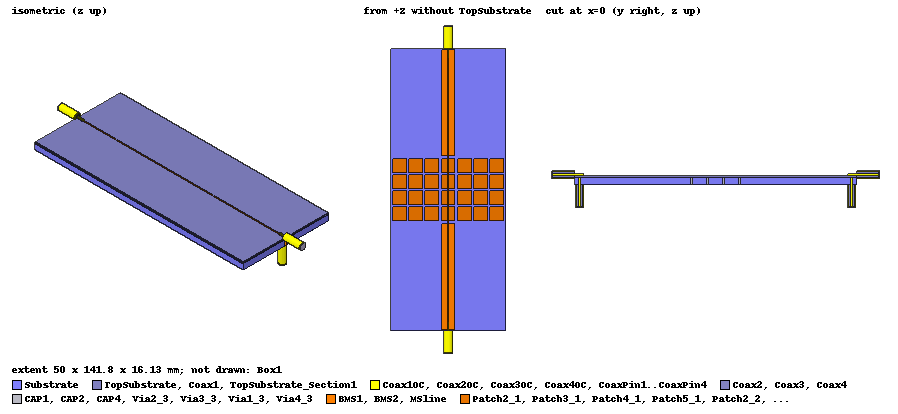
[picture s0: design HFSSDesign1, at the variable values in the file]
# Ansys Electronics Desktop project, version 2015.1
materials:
  vacuum: permittivity=1
  Rogers RT/duroid 5880 (tm): permittivity=2.2 dielectric_loss_tangent=0.0009
  pec: conductivity=1e+30
  Teflon (tm): permittivity=2.1 dielectric_loss_tangent=0.001

design HFSSDesign1 (HFSS, DrivenModal, model units mm)
options: Allow_Material_Override
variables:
  Slength = 50mm
  Swidth = 29mm + 2*lambda + 7.62mm
  Sthick = 3.175mm
  Patch = 6mm
  vradius = 0.4mm
  Xtop = 2mm
  Ztop = 0.787mm
  coaxradius = (2.5447/2) mm
  coaxlength = 9.52mm
  coax = 0
  pinradius = (.76/2) mm
  pinlength = coaxlength + 3.81mm
  lambda = 42.5516mm
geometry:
  Substrate [Rogers RT/duroid 5880 (tm)] = box(corner=(-Slength/2, -Swidth/2, -Sthick/2), size=(Slength, Swidth, Sthick))
  Patch1_1 = rectangle(corner=(-Slength/2 + 1mm, -Swidth/2 + 1mm + lambda + 3.81mm, Sthick/2), x_size=Patch, y_size=Patch)
  Patch1_2, Patch1_3, Patch1_4 = Patch1_1.duplicate_along_line(step=(0mm, 7mm, 0mm), total=4)
  Patch2_1, Patch3_1, Patch4_1, Patch5_1, Patch6_1, Patch7_1 = Patch1_1.duplicate_along_line(step=(7mm, 0mm, 0mm), total=8)  # copies kept: 1..6
  Patch2_2, Patch3_2, Patch4_2, Patch5_2, Patch6_2, Patch7_2 = Patch1_2.duplicate_along_line(step=(7mm, 0mm, 0mm), total=8)  # copies kept: 1..6
  Patch2_3, Patch3_3, Patch4_3, Patch5_3, Patch6_3, Patch7_3 = Patch1_3.duplicate_along_line(step=(7mm, 0mm, 0mm), total=8)  # copies kept: 1..6
  Patch2_4, Patch3_4, Patch4_4, Patch5_4, Patch6_4, Patch7_4 = Patch1_4.duplicate_along_line(step=(7mm, 0mm, 0mm), total=8)  # copies kept: 1..6
  Via1 [pec] = cylinder(axis=Z, base_centre=(-Slength/2 + 4mm, -Swidth/2 + 4mm + lambda + 3.81mm, -Sthick/2), radius=vradius, height=Sthick)
  Gnd [Rogers RT/duroid 5880 (tm)] = object_from(Substrate.face(-z))
  Via2, Via3, Via4 [pec] = Via1.duplicate_along_line(step=(0mm, 7mm, 0mm), total=4)
  Via1_1..Via1_6 [pec] = Via1.duplicate_along_line(step=(7mm, 0mm, 0mm), total=8)  # copies kept: 1..6
  Via2_1..Via2_6 [pec] = Via2.duplicate_along_line(step=(7mm, 0mm, 0mm), total=8)  # copies kept: 1..6
  Via3_1..Via3_6 [pec] = Via3.duplicate_along_line(step=(7mm, 0mm, 0mm), total=8)  # copies kept: 1..6
  Via4_1..Via4_6 [pec] = Via4.duplicate_along_line(step=(7mm, 0mm, 0mm), total=8)  # copies kept: 1..6
  TopSubstrate [Rogers RT/duroid 5880 (tm)] = box(corner=(-slength/2, -Swidth/2, Sthick/2), size=(slength, Swidth, Ztop))
  TopSubstrate_Section1 [Rogers RT/duroid 5880 (tm)] = TopSubstrate.section(plane=YZ)
  TopSubstrate_Section1.thicken(0.5mm, both sides)
  MSline [Rogers RT/duroid 5880 (tm)] = object_from(TopSubstrate_Section1.face(at (0, 0, 2.3745)))
  Coax1 [Teflon (tm)] = cylinder(axis=Y, base_centre=(0, -Swidth/2 - coaxlength, Sthick/2 +Ztop + pinradius), radius=coaxradius, height=coaxlength)
  Rectangle1 = rectangle(corner=(-coaxradius/2, -Swidth/2, -Sthick/2), z_size=Sthick - pinradius, x_size=coaxradius)
  CuTape1 = rectangle(corner=(-coaxradius/2, -Swidth/2, -Sthick/2), x_size=coaxradius, y_size=0.5mm)
  CuTape1.unite(Rectangle1)
  Rectangle2 = rectangle(corner=(-coaxradius/2, Swidth/2, -Sthick/2), z_size=Sthick - pinradius, x_size=coaxradius)
  CuTape2 = rectangle(corner=(-coaxradius/2, Swidth/2 - 0.5mm, -Sthick/2), x_size=coaxradius, y_size=0.5mm)
  CuTape2.unite(Rectangle2)
  CoaxPin1 [pec] = cylinder(axis=Y, base_centre=(0, -Swidth/2 - coaxlength, Sthick/2 + Ztop + pinradius), radius=pinradius, height=pinlength)
  Coax2 [Teflon (tm)] = cylinder(axis=Y, base_centre=(0, Swidth/2, Sthick/2 + Ztop + pinradius), radius=coaxradius, height=coaxlength)
  CoaxPin2 [pec] = cylinder(axis=Y, base_centre=(0mm, Swidth/2 + coaxlength, Sthick/2 + Ztop + pinradius), radius=pinradius, height=-pinlength)
  BMS1 = rectangle(corner=(-3mm, -Swidth/2 + 0.5mm, Sthick/2), x_size=6mm, y_size=lambda + 3.81mm - 0.5mm)
  BMS2 = rectangle(corner=(-3mm, SWidth/2 - 0.5mm, Sthick/2), x_size=6mm, y_size=-(lambda + 3.81mm - 0.5mm))
  Circle1 = circle(normal=Z, centre=(0, -Swidth/2 + 2mm, -Sthick/2), radius=Coaxradius)
  Gnd.subtract(Circle1)
  Coax3 [Teflon (tm)] = cylinder(axis=Z, base_centre=(0mm, -Swidth/2 + 2mm, 0 - sthick/2), radius=CoaxRadius, height=-Coaxlength)
  CoaxPin3 [pec] = cylinder(axis=Z, base_centre=(0mm, -Swidth/2 + 2mm, sthick/2), radius=Pinradius, height=0 - Sthick - Coaxlength)
  Circle2 = circle(normal=Z, centre=(0mm, Swidth/2 -2mm, -Sthick/2), radius=Coaxradius)
  Gnd.subtract(Circle2)
  Coax4 [Teflon (tm)] = cylinder(axis=Z, base_centre=(0mm, Swidth/2 - 2mm, 0 - sthick/2), radius=Coaxradius, height=-Coaxlength)
  CoaxPin4 [pec] = cylinder(axis=Z, base_centre=(0mm, Swidth/2 - 2mm, sthick/2), radius=Pinradius, height=0 - sthick - Coaxlength)
  Circle3 = circle(normal=Y, centre=(0mm, -Swidth/2 - coaxlength, sthick/2 + ztop + pinradius), radius=coaxradius + 0.5mm)
  Coax1OC [pec] = cylinder(axis=Y, base_centre=(0mm, -swidth/2 - coaxlength, sthick/2 + ztop + pinradius), radius=coaxradius + 0.5mm, height=coaxlength)
  Coax1_1 = Coax1.copy()
  Coax1OC.subtract(Coax1_1)
  CAP1 [pec] = cylinder(axis=Y, base_centre=(0mm, -swidth/2 - coaxlength, sthick/2 + ztop + pinradius), radius=coaxradius + 0.5mm, height=-0.5mm)
  Coax2OC [pec] = cylinder(axis=Y, base_centre=(0mm, swidth/2, sthick/2 + ztop + pinradius), radius=coaxradius + 0.5mm, height=coaxlength)
  Coax2_1 = Coax2.copy()
  Coax2OC.subtract(Coax2_1)
  Circle4 = circle(normal=Y, centre=(0mm, swidth/2 + coaxlength, sthick/2 + ztop + pinradius), radius=coaxradius + 0.5mm)
  CuTape1_1 = CuTape1.copy()
  Gnd.subtract(CuTape1_1)
  CuTape2_1 = CuTape2.copy()
  Gnd.subtract(CuTape2_1)
  Coax3OC [pec] = cylinder(axis=Z, base_centre=(0mm, -swidth/2 + 2mm, -sthick/2), radius=coaxradius + 0.5mm, height=-coaxlength)
  Coax3_1 = Coax3.copy()
  Coax3OC.subtract(Coax3_1)
  Circle5 = circle(normal=Z, centre=(0mm, -swidth/2 + 2mm, -sthick/2 - coaxlength), radius=coaxradius + 0.5mm)
  Coax4OC [pec] = cylinder(axis=Z, base_centre=(0mm, swidth/2 - 2mm, -sthick/2), radius=coaxradius + 0.5mm, height=-coaxlength)
  Coax4_1 = Coax4.copy()
  Coax4OC.subtract(Coax4_1)
  Circle6 = circle(normal=Z, centre=(0mm, swidth/2 - 2mm, -sthick/2 - coaxlength), radius=coaxradius + 0.5mm)
  Box1 [vacuum] = box(corner=(-slength/2 - lambda/4, -swidth/2 - coaxlength - 0.5mm - lambda/4, -sthick/2 - coaxlength - 0.5mm - lambda/4), size=(slength + lambda/2, swidth + 2*coaxlength + 1mm + lambda/2, coaxlength + sthick + ztop + pinradius + coaxradius + 0.5mm + lambda/2))
  CAP2 [pec] = cylinder(axis=Y, base_centre=(0mm, swidth/2 + coaxlength, sthick/2 + ztop + pinradius), radius=coaxradius + 0.5mm, height=0.5mm)
  CAP3 [pec] = cylinder(axis=Z, base_centre=(0mm, -swidth/2 + 2mm, -sthick/2 - coaxlength), radius=coaxradius + 0.5mm, height=-0.5mm)
  CAP4 [pec] = cylinder(axis=Z, base_centre=(0mm, swidth/2 - 2mm, -sthick/2 - coaxlength), radius=coaxradius + 0.5mm, height=-0.5mm)
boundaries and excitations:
  Patch1_1: Perfect E Objects=Patch1_1
  Patch1_2PE: Perfect E Objects=Patch1_2
  Patch1_3PE: Perfect E Objects=Patch1_3
  Patch1_4PE: Perfect E Objects=Patch1_4
  2_1PE: Perfect E Objects=Patch2_1
  2_2PE: Perfect E Objects=Patch2_2
  2_3PE: Perfect E Objects=Patch2_3
  2_4PE: Perfect E Objects=Patch2_4
  3_1PE: Perfect E Objects=Patch3_1
  3_2PE: Perfect E Objects=Patch3_2
  3_3PE: Perfect E Objects=Patch3_3
  3_4PE: Perfect E Objects=Patch3_4
  4_1PE: Perfect E Objects=Patch4_1
  4_2PE: Perfect E Objects=Patch4_2
  4_3PE: Perfect E Objects=Patch4_3
  4_4PE: Perfect E Objects=Patch4_4
  5_1PE: Perfect E Objects=Patch5_1
  5_2PE: Perfect E Objects=Patch5_2
  5_3PE: Perfect E Objects=Patch5_3
  5_4PE: Perfect E Objects=Patch5_4
  6_1PE: Perfect E Objects=Patch6_1
  6_2PE: Perfect E Objects=Patch6_2
  6_3PE: Perfect E Objects=Patch6_3
  6_4PE: Perfect E Objects=Patch6_4
  7_1PE: Perfect E Objects=Patch7_1
  7_2PE: Perfect E Objects=Patch7_2
  7_3PE: Perfect E Objects=Patch7_3
  7_4PE: Perfect E Objects=Patch7_4
  GNDPE: Perfect E Objects=Gnd
  MSPE: Perfect E Faces=MSline.face
  CuTape1PE: Perfect E Objects=CuTape1
  CuTape2PE: Perfect E Objects=CuTape2
  BMS1PE: Perfect E Faces=BMS1.face
  BMS2PE: Perfect E Objects=BMS2
  Rad1: Radiation Objects=Box1
  1: Wave Port Objects=Circle3 NumModes=1 Modes{Mode1{IntLine{Circle3.vertex(1 of 1) -> centre of Circle3.face} CharImp=Zpi}}
  2: Wave Port Objects=Circle5 NumModes=1 Modes{Mode1{CharImp=Zpi}}
  3: Wave Port Objects=Circle4 NumModes=1 Modes{Mode1{CharImp=Zpi}}
  4: Wave Port Objects=Circle6 NumModes=1 Modes{Mode1{IntLine{Circle6.vertex(1 of 1) -> centre of Circle6.face} CharImp=Zpi}}
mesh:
  initial mesh: GlobalSurfApproximation{SurfDevChoice=0 NormalDevChoice=1 AspectRatioChoice=1 SetFacePreservationLevel=0}
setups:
  Setup1: HfssDriven Frequency=4.75GHz MaxDeltaS=0.02 MaximumPasses=15 MinimumPasses=1 MinimumConvergedPasses=1 PercentRefinement=30 BasisOrder=1 PortAccuracy=2
    sweep Sweep: 3GHz to 6.5GHz step 0.1GHz; Type=Interpolating InterpTolerance=0.5 InterpMaxSolns=250 InterpUsePortImped=false PassivityErrorTolerance=0.0001
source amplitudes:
  1:1: 1W 0deg
  2:1, 3:1, 4:1: 0W 0deg
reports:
  HIS S-Parameters: dB(S(1,1)), dB(S(2,1)), dB(S(3,3)), dB(S(4,3)), dB(S(3,1)), dB(S(4,1)) vs Freq on Setup1 : Sweep
  Data Table 1: re(S(1,1)), re(S(1,2)), re(S(1,3)), re(S(1,4)), re(S(2,1)), re(S(2,2)), re(S(2,3)), re(S(2,4)), re(S(3,1)), re(S(3,2)), re(S(3,3)), re(S(3,4)), re(S(4,1)), re(S(4,2)), re(S(4,3)), re(S(4,4)) vs Freq on Setup1 : Sweep
  Data Table 2: im(S(1,1)), im(S(1,2)), im(S(1,3)), im(S(1,4)), im(S(2,1)), im(S(2,2)), im(S(2,3)), im(S(2,4)), im(S(3,1)), im(S(3,2)), im(S(3,3)), im(S(3,4)), im(S(4,1)), im(S(4,2)), im(S(4,3)), im(S(4,4)) vs Freq on Setup1 : Sweep
  Data Table 3: dB(S(1,1)), dB(S(1,2)), dB(S(1,3)), dB(S(1,4)), dB(S(2,1)), dB(S(2,2)), dB(S(2,3)), dB(S(2,4)), dB(S(3,1)), dB(S(3,2)), dB(S(3,3)), dB(S(3,4)), dB(S(4,1)), dB(S(4,2)), dB(S(4,3)), dB(S(4,4)) vs Freq on Setup1 : Sweep
